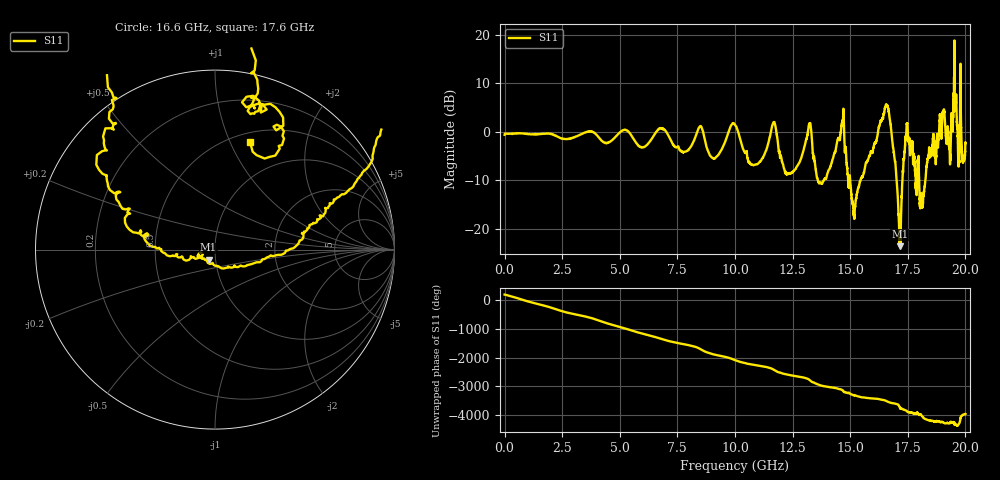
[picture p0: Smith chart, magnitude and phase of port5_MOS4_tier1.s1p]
! Created with skrf 1.8.0 (http://scikit-rf.org).
# GHz S RI R 50.0
!freq ReS11 ImS11
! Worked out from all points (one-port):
!   10000 points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, 3 MHz to 20 GHz, reference 50 ohm
!   lowest |S11| = -23.5 dB at 17.15 GHz (marker M1), VSWR 1.14, Z = 46.2 - j5.18 ohm
!   |S11| at or under -10 dB: 15 GHz to 15.44 GHz (447.8 MHz wide, 2.94 % of centre); 17.01 GHz to 17.27 GHz (255.7 MHz wide, 1.49 % of centre); 17.99 GHz to 18.26 GHz (268.2 MHz wide, 1.48 % of centre) (the widest 3 of 6)
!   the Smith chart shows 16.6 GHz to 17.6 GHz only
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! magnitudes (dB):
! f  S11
! 3 MHz  -0.6
! 2.503 GHz  -1.4
! 5.003 GHz  -0.1
! 7.503 GHz  -3.1
! 8.503 GHz  1.2
! 9.123 GHz  -5.5
! 10 GHz  1.4
! 10.81 GHz  -6.8
! 11.69 GHz  2.1
! 12.15 GHz  -7.9
! 12.5 GHz  -8.3
! 13.23 GHz  1.5
! 13.58 GHz  -9.5
! 13.82 GHz  -10.2
! 14.65 GHz  2.0
! 15 GHz  -10.6
! 15.21 GHz  -15.3
! 16.59 GHz  5.4
! 17.15 GHz  -23.5
! 17.38 GHz  -2.7
! 17.5 GHz  -0.4
! 18.11 GHz  -13.4
! 18.52 GHz  -4.4
! 18.99 GHz  2.1
! 19.27 GHz  -2.1
! 19.53 GHz  12.5
! 19.66 GHz  -0.7
! 20 GHz  -2.3
